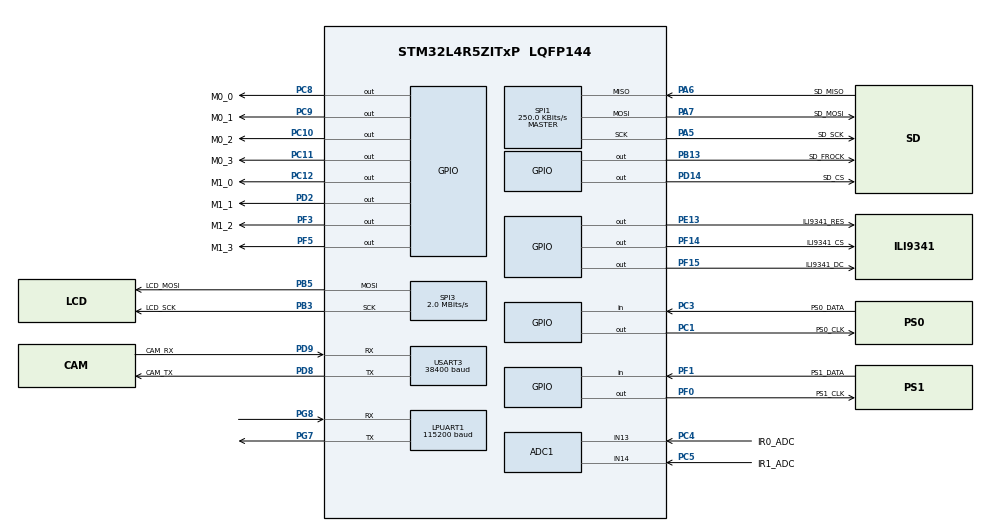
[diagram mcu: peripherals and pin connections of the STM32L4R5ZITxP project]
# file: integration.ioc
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ADC1.Channel-0\#ChannelRegularConversion=ADC_CHANNEL_13
ADC1.NbrOfConversionFlag=1
ADC1.OffsetNumber-0\#ChannelRegularConversion=ADC_OFFSET_NONE
ADC1.Rank-0\#ChannelRegularConversion=1
ADC1.SamplingTime-0\#ChannelRegularConversion=ADC_SAMPLETIME_2CYCLES_5
ADC1.master=1
LPUART1.BaudRate=115200
LPUART1.WordLength=UART_WORDLENGTH_8B
Mcu.Family=STM32L4
Mcu.Name=STM32L4R5ZITxP
Mcu.Package=LQFP144
NVIC.PriorityGroup=NVIC_PRIORITYGROUP_4
NVIC.TIM1_BRK_TIM15_IRQn=true\:0\:0\:false\:false\:true\:true\:true\:true
NVIC.TIM1_UP_TIM16_IRQn=true\:0\:0\:false\:false\:true\:true\:true\:true
NVIC.TIM4_IRQn=true\:0\:0\:false\:false\:true\:true\:true\:true
NVIC.TIM5_IRQn=true\:0\:0\:false\:false\:true\:true\:true\:true
PA10.Signal=USB_OTG_FS_ID
PA13\ (JTMS/SWDIO).Signal=SYS_JTMS-SWDIO
PA14\ (JTCK/SWCLK).Signal=SYS_JTCK-SWCLK
PA3.Signal=ADCx_IN8
PA5.GPIO_Label=SD_SCK
PA5.Mode=Full_Duplex_Master
PA5.Signal=SPI1_SCK
PA6.GPIO_Label=SD_MISO
PA6.Mode=Full_Duplex_Master
PA6.Signal=SPI1_MISO
PA7.GPIO_Label=SD_MOSI
PA7.Mode=Full_Duplex_Master
PA7.Signal=SPI1_MOSI
PA8.Signal=USB_OTG_FS_SOF
PA9.Signal=USB_OTG_FS_VBUS
PB10.Signal=S_TIM2_CH3
PB12.Signal=SAI2_FS_A
PB13.GPIO_Label=SD_FROCK
PB13.GPIO_PuPd=GPIO_PULLUP
PB13.PinState=GPIO_PIN_RESET
PB13.Signal=GPIO_Output
PB14.Signal=S_TIM15_CH1
PB15.Signal=SAI2_SD_A
PB3\ (JTDO/TRACESWO).GPIO_Label=LCD_SCK
PB3\ (JTDO/TRACESWO).Mode=TX_Only_Simplex_Unidirect_Master
PB3\ (JTDO/TRACESWO).Signal=SPI3_SCK
PB5.GPIO_Label=LCD_MOSI
PB5.Mode=TX_Only_Simplex_Unidirect_Master
PB5.Signal=SPI3_MOSI
PC1.GPIO_Label=PS0_CLK
PC1.Signal=GPIO_Output
PC10.GPIO_Label=M0_2
PC10.Signal=GPIO_Output
PC11.GPIO_Label=M0_3
PC11.Signal=GPIO_Output
PC12.GPIO_Label=M1_0
PC12.Signal=GPIO_Output
PC3.GPIO_Label=PS0_DATA
PC3.Signal=GPIO_Input
PC4.GPIO_Label=IR0_ADC
PC4.Signal=ADCx_IN13
PC5.GPIO_Label=IR1_ADC
PC5.Signal=ADCx_IN14
PC6.Signal=SAI2_MCLK_A
PC7.Signal=S_TIM3_CH2
PC8.GPIO_Label=M0_0
PC8.Signal=GPIO_Output
PC9.GPIO_Label=M0_1
PC9.Signal=GPIO_Output
PD14.GPIO_Label=SD_CS
PD14.Signal=GPIO_Output
PD15.Signal=S_TIM4_CH4
PD2.GPIO_Label=M1_1
PD2.Signal=GPIO_Output
PD8.GPIO_Label=CAM_TX
PD8.Mode=Asynchronous
PD8.Signal=USART3_TX
PD9.GPIO_Label=CAM_RX
PD9.Mode=Asynchronous
PD9.Signal=USART3_RX
PE10.Signal=TIM1_CH2N
PE11.Signal=S_TIM1_CH2
PE12.Signal=TIM1_CH3N
PE13.GPIO_Label=ILI9341_RES
PE13.Signal=GPIO_Output
PE14.Signal=TIM1_BKIN2
PE15.Signal=TIM1_BKIN
PE7.Signal=S_TIM1_ETR
PE8.Signal=TIM1_CH1N
PE9.Signal=S_TIM1_CH1
PF0.GPIO_Label=PS1_CLK
PF0.Signal=GPIO_Output
PF1.GPIO_Label=PS1_DATA
PF1.Signal=GPIO_Input
PF14.GPIO_Label=ILI9341_CS
PF14.Signal=GPIO_Output
PF15.GPIO_Label=ILI9341_DC
PF15.Signal=GPIO_Output
PF3.GPIO_Label=M1_2
PF3.Signal=GPIO_Output
PF5.GPIO_Label=M1_3
PF5.Signal=GPIO_Output
PG7.Mode=Asynchronous
PG7.Signal=LPUART1_TX
PG8.Mode=Asynchronous
PG8.Signal=LPUART1_RX
ProjectManager.HeapSize=0x200
ProjectManager.StackSize=0x400
ProjectManager.TargetToolchain=STM32CubeIDE
RCC.ADCFreq_Value=32000000
RCC.HSE_VALUE=8000000
RCC.HSI48_VALUE=48000000
RCC.HSI_VALUE=16000000
RCC.LSE_VALUE=32768
RCC.MSI_VALUE=4000000
RCC.PLLSAI1N=16
RCC.USBFreq_Value=32000000
RCC.VCOOutputFreq_Value=32000000
SH.ADCx_IN13.0=ADC1_IN13,IN13-Single-Ended
SH.ADCx_IN14.0=ADC1_IN14,IN14-Single-Ended
SH.ADCx_IN8.0=ADC1_IN8
SH.S_TIM15_CH1.0=TIM15_CH1
SH.S_TIM1_CH1.0=TIM1_CH1
SH.S_TIM1_CH2.0=TIM1_CH2
SH.S_TIM1_ETR.0=TIM1_ETR
SH.S_TIM2_CH3.0=TIM2_CH3
SH.S_TIM3_CH2.0=TIM3_CH2
SH.S_TIM4_CH4.0=TIM4_CH4
SPI1.BaudRatePrescaler=SPI_BAUDRATEPRESCALER_16
SPI1.CalculateBaudRate=250.0 KBits/s
SPI1.DataSize=SPI_DATASIZE_8BIT
SPI1.Direction=SPI_DIRECTION_2LINES
SPI1.Mode=SPI_MODE_MASTER
SPI1.VirtualType=VM_MASTER
SPI3.BaudRatePrescaler=SPI_BAUDRATEPRESCALER_2
SPI3.CalculateBaudRate=2.0 MBits/s
SPI3.DataSize=SPI_DATASIZE_8BIT
SPI3.Direction=SPI_DIRECTION_2LINES
SPI3.Mode=SPI_MODE_MASTER
SPI3.VirtualType=VM_MASTER
TIM15.Prescaler=255
TIM16.Prescaler=128
TIM2.Period=65535
TIM2.Prescaler=71
TIM4.Period=62
TIM4.Prescaler=127
TIM5.Period=65535
TIM5.Prescaler=15
USART3.BaudRate=38400
USART3.MSBFirstParam=ADVFEATURE_MSBFIRST_DISABLE
USART3.VirtualMode-Asynchronous=VM_ASYNC
VP_FATFS_VS_Generic.Mode=User_defined
VP_TIM15_VS_ClockSourceINT.Mode=Internal
VP_TIM16_VS_ClockSourceINT.Mode=Enable_Timer
VP_TIM2_VS_ClockSourceINT.Mode=Internal
VP_TIM4_VS_ClockSourceINT.Mode=Internal
VP_TIM5_VS_ClockSourceINT.Mode=Internal
board=NUCLEO-L4R5ZI-P

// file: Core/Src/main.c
/* USER CODE BEGIN Header */
/**
  ******************************************************************************
  * @file           : main.c
  * @brief          : Main program body
  ******************************************************************************
  * @attention
  *
  * Copyright (c) 2024 STMicroelectronics.
  * All rights reserved.
  *
  * This software is licensed under terms that can be found in the LICENSE file
  * in the root directory of this software component.
  * If no LICENSE file comes with this software, it is provided AS-IS.
  *
  ******************************************************************************
  */
/* USER CODE END Header */
#include "main.h"
#include "fatfs.h"

/* USER CODE BEGIN Includes */
#include "integration.h"
#include "camera_handler.h"
#include "motor.h"
#include "load_cell.h"
#include "lcd.h"
#include <stdio.h>
#include <stdbool.h>

/* USER CODE END Includes */

/* USER CODE BEGIN PTD */
#define VC0706_CMD_PREFIX 0x56
#define VC0706_SERIAL_NUM 0x00
#define VC0706_CMD_SET_BAUD 0x31
#define VC0706_CMD_TAKE_PHOTO 0x36
#define VC0706_CMD_READ_DATA  0x32
#define VC0706_CMD_RESET      0x26
#define VC0706_CMD_STOP_CAPTURE 0x36
#define VC0706_CMD_READ_DATA_LEN 0x34

#define CAMERA_BUFFER_SIZE 100000 // Adjust this based on available memory
#define CAMERA_READ_SIZE 32		  // Amount of camera data that can be read in one cycle

//uint8_t CAMERA_BUFFER[CAMERA_BUFFER_SIZE];
//uint8_t CAMERA_BUFFER_STATUS = 0; // set to 1 after buffer filled
//uint32_t CAMERA_BUFFER_OFFSET = 0;

/* USER CODE END PTD */

ADC_HandleTypeDef hadc1;

UART_HandleTypeDef hlpuart1;
UART_HandleTypeDef huart3;

SPI_HandleTypeDef hspi1;
SPI_HandleTypeDef hspi3;

TIM_HandleTypeDef htim2;
TIM_HandleTypeDef htim4;
TIM_HandleTypeDef htim5;
TIM_HandleTypeDef htim15;
TIM_HandleTypeDef htim16;

void SystemClock_Config(void);
static void MX_GPIO_Init(void);
static void MX_USART3_UART_Init(void);
static void MX_SPI1_Init(void);
static void MX_SPI3_Init(void);
static void MX_ADC1_Init(void);
static void MX_TIM2_Init(void);
static void MX_TIM4_Init(void);
static void MX_TIM5_Init(void);
static void MX_TIM15_Init(void);
static void MX_TIM16_Init(void);
static void MX_LPUART1_UART_Init(void);

int main(void)
{

  /* MCU Configuration--------------------------------------------------------*/

  /* Reset of all peripherals, Initializes the Flash interface and the Systick. */
  HAL_Init();

  /* Configure the system clock */
  SystemClock_Config();

  /* Initialize all configured peripherals */
  MX_GPIO_Init();
  MX_USART3_UART_Init();
  MX_SPI1_Init();
  MX_FATFS_Init();
  MX_SPI3_Init();
  MX_ADC1_Init();
  MX_TIM2_Init();
  MX_TIM4_Init();
  MX_TIM5_Init();
  MX_TIM15_Init();
  MX_TIM16_Init();
  MX_LPUART1_UART_Init();
  /* USER CODE BEGIN 2 */

  FATFS FatFs; 	//Fatfs handle
  FIL fil; 		//File handle
  FRESULT fres; //Result after operations

  printf("\n\r#########################################################\n\r");
  printf("                INITIALIZING SQURREL FEEDER . . .        \n\r");
  printf("#########################################################\n\r");
  printf("\n\r\n\r");

  HAL_GPIO_WritePin(SD_FROCK_GPIO_Port, SD_FROCK_Pin, 0);

  // 10 second startup delay to perform the SD card magic
  HAL_Delay(3000);

  HAL_GPIO_WritePin(SD_FROCK_GPIO_Port, SD_FROCK_Pin, 1);
  HAL_Delay(1000);

  fres = f_mount(&FatFs, "", 1); //1=mount now
  while (fres != FR_OK) {
	  printf("FRUCK\n\r");
  }

  printf("FROCK\n\r");

  HAL_NVIC_SetPriority(TIM1_BRK_TIM15_IRQn, 3, 0);
  HAL_NVIC_SetPriority(TIM1_UP_TIM16_IRQn, 3, 0);
  HAL_NVIC_SetPriority(TIM4_IRQn, 3, 0);
  HAL_NVIC_SetPriority(TIM5_IRQn, 3, 0);

  init_peripherals();

//  get_feeder()->needs_to_take_picture = true;
  /* USER CODE END 2 */

  /* Infinite loop */
  while (1)
  {

    /* USER CODE BEGIN 3 */
	if (get_feeder()->needs_to_take_picture) {
		if (camera_take_photo()) {
			get_feeder()->needs_to_take_picture = false;
		}
	}

//	if (!camera_get_ready() && camera_is_ready_to_request()) {
//		camera_request_chunk();
//	}

	if (!camera_get_ready() && get_feeder()->needs_to_process_picture) {
		camera_process();
	}

	if (ps_needs_reading()) {
		ps_take_reading();
	}

	if (lcd_needs_update()) {
		lcd_update();
	}
  }

  f_mount(NULL, "", 0);

  /* USER CODE END 3 */
}

void SystemClock_Config(void)
{
  RCC_OscInitTypeDef RCC_OscInitStruct = {0};
  RCC_ClkInitTypeDef RCC_ClkInitStruct = {0};

  /** Configure the main internal regulator output voltage
  */
  if (HAL_PWREx_ControlVoltageScaling(PWR_REGULATOR_VOLTAGE_SCALE1) != HAL_OK)
  {
    Error_Handler();
  }

  /** Initializes the RCC Oscillators according to the specified parameters
  * in the RCC_OscInitTypeDef structure.
  */
  RCC_OscInitStruct.OscillatorType = RCC_OSCILLATORTYPE_MSI;
  RCC_OscInitStruct.MSIState = RCC_MSI_ON;
  RCC_OscInitStruct.MSICalibrationValue = 0;
  RCC_OscInitStruct.MSIClockRange = RCC_MSIRANGE_6;
  RCC_OscInitStruct.PLL.PLLState = RCC_PLL_NONE;
  if (HAL_RCC_OscConfig(&RCC_OscInitStruct) != HAL_OK)
  {
    Error_Handler();
  }

  /** Initializes the CPU, AHB and APB buses clocks
  */
  RCC_ClkInitStruct.ClockType = RCC_CLOCKTYPE_HCLK|RCC_CLOCKTYPE_SYSCLK
                              |RCC_CLOCKTYPE_PCLK1|RCC_CLOCKTYPE_PCLK2;
  RCC_ClkInitStruct.SYSCLKSource = RCC_SYSCLKSOURCE_MSI;
  RCC_ClkInitStruct.AHBCLKDivider = RCC_SYSCLK_DIV1;
  RCC_ClkInitStruct.APB1CLKDivider = RCC_HCLK_DIV1;
  RCC_ClkInitStruct.APB2CLKDivider = RCC_HCLK_DIV1;

  if (HAL_RCC_ClockConfig(&RCC_ClkInitStruct, FLASH_LATENCY_0) != HAL_OK)
  {
    Error_Handler();
  }
}

static void MX_ADC1_Init(void)
{

  ADC_ChannelConfTypeDef sConfig = {0};

  /** Common config
  */
  hadc1.Instance = ADC1;
  hadc1.Init.ClockPrescaler = ADC_CLOCK_ASYNC_DIV1;
  hadc1.Init.Resolution = ADC_RESOLUTION_12B;
  hadc1.Init.DataAlign = ADC_DATAALIGN_RIGHT;
  hadc1.Init.ScanConvMode = ADC_SCAN_DISABLE;
  hadc1.Init.EOCSelection = ADC_EOC_SINGLE_CONV;
  hadc1.Init.LowPowerAutoWait = DISABLE;
  hadc1.Init.ContinuousConvMode = DISABLE;
  hadc1.Init.NbrOfConversion = 1;
  hadc1.Init.DiscontinuousConvMode = DISABLE;
  hadc1.Init.ExternalTrigConv = ADC_SOFTWARE_START;
  hadc1.Init.ExternalTrigConvEdge = ADC_EXTERNALTRIGCONVEDGE_NONE;
  hadc1.Init.DMAContinuousRequests = DISABLE;
  hadc1.Init.Overrun = ADC_OVR_DATA_PRESERVED;
  hadc1.Init.OversamplingMode = DISABLE;
  if (HAL_ADC_Init(&hadc1) != HAL_OK)
  {
    Error_Handler();
  }

  /** Configure Regular Channel
  */
  sConfig.Channel = ADC_CHANNEL_13;
  sConfig.Rank = ADC_REGULAR_RANK_1;
  sConfig.SamplingTime = ADC_SAMPLETIME_2CYCLES_5;
  sConfig.SingleDiff = ADC_SINGLE_ENDED;
  sConfig.OffsetNumber = ADC_OFFSET_NONE;
  sConfig.Offset = 0;
  if (HAL_ADC_ConfigChannel(&hadc1, &sConfig) != HAL_OK)
  {
    Error_Handler();
  }

}

static void MX_LPUART1_UART_Init(void)
{

  hlpuart1.Instance = LPUART1;
  hlpuart1.Init.BaudRate = 115200;
  hlpuart1.Init.WordLength = UART_WORDLENGTH_8B;
  hlpuart1.Init.StopBits = UART_STOPBITS_1;
  hlpuart1.Init.Parity = UART_PARITY_NONE;
  hlpuart1.Init.Mode = UART_MODE_TX_RX;
  hlpuart1.Init.HwFlowCtl = UART_HWCONTROL_NONE;
  hlpuart1.Init.OneBitSampling = UART_ONE_BIT_SAMPLE_DISABLE;
  hlpuart1.Init.ClockPrescaler = UART_PRESCALER_DIV1;
  hlpuart1.AdvancedInit.AdvFeatureInit = UART_ADVFEATURE_NO_INIT;
  hlpuart1.FifoMode = UART_FIFOMODE_DISABLE;
  if (HAL_UART_Init(&hlpuart1) != HAL_OK)
  {
    Error_Handler();
  }
  if (HAL_UARTEx_SetTxFifoThreshold(&hlpuart1, UART_TXFIFO_THRESHOLD_1_8) != HAL_OK)
  {
    Error_Handler();
  }
  if (HAL_UARTEx_SetRxFifoThreshold(&hlpuart1, UART_RXFIFO_THRESHOLD_1_8) != HAL_OK)
  {
    Error_Handler();
  }
  if (HAL_UARTEx_DisableFifoMode(&hlpuart1) != HAL_OK)
  {
    Error_Handler();
  }

}

static void MX_USART3_UART_Init(void)
{

  huart3.Instance = USART3;
  huart3.Init.BaudRate = 38400;
  huart3.Init.WordLength = UART_WORDLENGTH_8B;
  huart3.Init.StopBits = UART_STOPBITS_1;
  huart3.Init.Parity = UART_PARITY_NONE;
  huart3.Init.Mode = UART_MODE_TX_RX;
  huart3.Init.HwFlowCtl = UART_HWCONTROL_NONE;
  huart3.Init.OverSampling = UART_OVERSAMPLING_16;
  huart3.Init.OneBitSampling = UART_ONE_BIT_SAMPLE_DISABLE;
  huart3.Init.ClockPrescaler = UART_PRESCALER_DIV1;
  huart3.AdvancedInit.AdvFeatureInit = UART_ADVFEATURE_NO_INIT;
  if (HAL_UART_Init(&huart3) != HAL_OK)
  {
    Error_Handler();
  }
  if (HAL_UARTEx_SetTxFifoThreshold(&huart3, UART_TXFIFO_THRESHOLD_1_8) != HAL_OK)
  {
    Error_Handler();
  }
  if (HAL_UARTEx_SetRxFifoThreshold(&huart3, UART_RXFIFO_THRESHOLD_1_8) != HAL_OK)
  {
    Error_Handler();
  }
  if (HAL_UARTEx_DisableFifoMode(&huart3) != HAL_OK)
  {
    Error_Handler();
  }

}

static void MX_SPI1_Init(void)
{

  /* SPI1 parameter configuration*/
  hspi1.Instance = SPI1;
  hspi1.Init.Mode = SPI_MODE_MASTER;
  hspi1.Init.Direction = SPI_DIRECTION_2LINES;
  hspi1.Init.DataSize = SPI_DATASIZE_8BIT;
  hspi1.Init.CLKPolarity = SPI_POLARITY_LOW;
  hspi1.Init.CLKPhase = SPI_PHASE_1EDGE;
  hspi1.Init.NSS = SPI_NSS_SOFT;
  hspi1.Init.BaudRatePrescaler = SPI_BAUDRATEPRESCALER_16;
  hspi1.Init.FirstBit = SPI_FIRSTBIT_MSB;
  hspi1.Init.TIMode = SPI_TIMODE_DISABLE;
  hspi1.Init.CRCCalculation = SPI_CRCCALCULATION_DISABLE;
  hspi1.Init.CRCPolynomial = 7;
  hspi1.Init.CRCLength = SPI_CRC_LENGTH_DATASIZE;
  hspi1.Init.NSSPMode = SPI_NSS_PULSE_ENABLE;
  if (HAL_SPI_Init(&hspi1) != HAL_OK)
  {
    Error_Handler();
  }

}

static void MX_SPI3_Init(void)
{

  /* SPI3 parameter configuration*/
  hspi3.Instance = SPI3;
  hspi3.Init.Mode = SPI_MODE_MASTER;
  hspi3.Init.Direction = SPI_DIRECTION_2LINES;
  hspi3.Init.DataSize = SPI_DATASIZE_8BIT;
  hspi3.Init.CLKPolarity = SPI_POLARITY_LOW;
  hspi3.Init.CLKPhase = SPI_PHASE_1EDGE;
  hspi3.Init.NSS = SPI_NSS_SOFT;
  hspi3.Init.BaudRatePrescaler = SPI_BAUDRATEPRESCALER_2;
  hspi3.Init.FirstBit = SPI_FIRSTBIT_MSB;
  hspi3.Init.TIMode = SPI_TIMODE_DISABLE;
  hspi3.Init.CRCCalculation = SPI_CRCCALCULATION_DISABLE;
  hspi3.Init.CRCPolynomial = 7;
  hspi3.Init.CRCLength = SPI_CRC_LENGTH_DATASIZE;
  hspi3.Init.NSSPMode = SPI_NSS_PULSE_ENABLE;
  if (HAL_SPI_Init(&hspi3) != HAL_OK)
  {
    Error_Handler();
  }

}

static void MX_TIM2_Init(void)
{

  TIM_ClockConfigTypeDef sClockSourceConfig = {0};
  TIM_MasterConfigTypeDef sMasterConfig = {0};

  htim2.Instance = TIM2;
  htim2.Init.Prescaler = 71;
  htim2.Init.CounterMode = TIM_COUNTERMODE_UP;
  htim2.Init.Period = 65535;
  htim2.Init.ClockDivision = TIM_CLOCKDIVISION_DIV1;
  htim2.Init.AutoReloadPreload = TIM_AUTORELOAD_PRELOAD_DISABLE;
  if (HAL_TIM_Base_Init(&htim2) != HAL_OK)
  {
    Error_Handler();
  }
  sClockSourceConfig.ClockSource = TIM_CLOCKSOURCE_INTERNAL;
  if (HAL_TIM_ConfigClockSource(&htim2, &sClockSourceConfig) != HAL_OK)
  {
    Error_Handler();
  }
  sMasterConfig.MasterOutputTrigger = TIM_TRGO_RESET;
  sMasterConfig.MasterSlaveMode = TIM_MASTERSLAVEMODE_DISABLE;
  if (HAL_TIMEx_MasterConfigSynchronization(&htim2, &sMasterConfig) != HAL_OK)
  {
    Error_Handler();
  }

}

static void MX_TIM4_Init(void)
{

  TIM_ClockConfigTypeDef sClockSourceConfig = {0};
  TIM_MasterConfigTypeDef sMasterConfig = {0};

  htim4.Instance = TIM4;
  htim4.Init.Prescaler = 127;
  htim4.Init.CounterMode = TIM_COUNTERMODE_UP;
  htim4.Init.Period = 62;
  htim4.Init.ClockDivision = TIM_CLOCKDIVISION_DIV1;
  htim4.Init.AutoReloadPreload = TIM_AUTORELOAD_PRELOAD_DISABLE;
  if (HAL_TIM_Base_Init(&htim4) != HAL_OK)
  {
    Error_Handler();
  }
  sClockSourceConfig.ClockSource = TIM_CLOCKSOURCE_INTERNAL;
  if (HAL_TIM_ConfigClockSource(&htim4, &sClockSourceConfig) != HAL_OK)
  {
    Error_Handler();
  }
  sMasterConfig.MasterOutputTrigger = TIM_TRGO_RESET;
  sMasterConfig.MasterSlaveMode = TIM_MASTERSLAVEMODE_DISABLE;
  if (HAL_TIMEx_MasterConfigSynchronization(&htim4, &sMasterConfig) != HAL_OK)
  {
    Error_Handler();
  }

}

static void MX_TIM5_Init(void)
{

  TIM_ClockConfigTypeDef sClockSourceConfig = {0};
  TIM_MasterConfigTypeDef sMasterConfig = {0};

  htim5.Instance = TIM5;
  htim5.Init.Prescaler = 15;
  htim5.Init.CounterMode = TIM_COUNTERMODE_UP;
  htim5.Init.Period = 65535;
  htim5.Init.ClockDivision = TIM_CLOCKDIVISION_DIV1;
  htim5.Init.AutoReloadPreload = TIM_AUTORELOAD_PRELOAD_DISABLE;
  if (HAL_TIM_Base_Init(&htim5) != HAL_OK)
  {
    Error_Handler();
  }
  sClockSourceConfig.ClockSource = TIM_CLOCKSOURCE_INTERNAL;
  if (HAL_TIM_ConfigClockSource(&htim5, &sClockSourceConfig) != HAL_OK)
  {
    Error_Handler();
  }
  sMasterConfig.MasterOutputTrigger = TIM_TRGO_RESET;
  sMasterConfig.MasterSlaveMode = TIM_MASTERSLAVEMODE_DISABLE;
  if (HAL_TIMEx_MasterConfigSynchronization(&htim5, &sMasterConfig) != HAL_OK)
  {
    Error_Handler();
  }

}

static void MX_TIM15_Init(void)
{

  TIM_ClockConfigTypeDef sClockSourceConfig = {0};
  TIM_MasterConfigTypeDef sMasterConfig = {0};

  htim15.Instance = TIM15;
  htim15.Init.Prescaler = 255;
  htim15.Init.CounterMode = TIM_COUNTERMODE_UP;
  htim15.Init.Period = 65535;
  htim15.Init.ClockDivision = TIM_CLOCKDIVISION_DIV1;
  htim15.Init.RepetitionCounter = 0;
  htim15.Init.AutoReloadPreload = TIM_AUTORELOAD_PRELOAD_DISABLE;
  if (HAL_TIM_Base_Init(&htim15) != HAL_OK)
  {
    Error_Handler();
  }
  sClockSourceConfig.ClockSource = TIM_CLOCKSOURCE_INTERNAL;
  if (HAL_TIM_ConfigClockSource(&htim15, &sClockSourceConfig) != HAL_OK)
  {
    Error_Handler();
  }
  sMasterConfig.MasterOutputTrigger = TIM_TRGO_RESET;
  sMasterConfig.MasterSlaveMode = TIM_MASTERSLAVEMODE_DISABLE;
  if (HAL_TIMEx_MasterConfigSynchronization(&htim15, &sMasterConfig) != HAL_OK)
  {
    Error_Handler();
  }

}

static void MX_TIM16_Init(void)
{

  htim16.Instance = TIM16;
  htim16.Init.Prescaler = 128;
  htim16.Init.CounterMode = TIM_COUNTERMODE_UP;
  htim16.Init.Period = 65535;
  htim16.Init.ClockDivision = TIM_CLOCKDIVISION_DIV1;
  htim16.Init.RepetitionCounter = 0;
  htim16.Init.AutoReloadPreload = TIM_AUTORELOAD_PRELOAD_DISABLE;
  if (HAL_TIM_Base_Init(&htim16) != HAL_OK)
  {
    Error_Handler();
  }

}

static void MX_GPIO_Init(void)
{
  GPIO_InitTypeDef GPIO_InitStruct = {0};

  /* GPIO Ports Clock Enable */
  __HAL_RCC_GPIOF_CLK_ENABLE();
  __HAL_RCC_GPIOC_CLK_ENABLE();
  __HAL_RCC_GPIOA_CLK_ENABLE();
  __HAL_RCC_GPIOE_CLK_ENABLE();
  __HAL_RCC_GPIOB_CLK_ENABLE();
  __HAL_RCC_GPIOD_CLK_ENABLE();
  __HAL_RCC_GPIOG_CLK_ENABLE();
  HAL_PWREx_EnableVddIO2();

  /*Configure GPIO pin Output Level */
  HAL_GPIO_WritePin(GPIOF, PS1_CLK_Pin|M1_2_Pin|M1_3_Pin|ILI9341_CS_Pin
                          |ILI9341_DC_Pin, GPIO_PIN_RESET);

  /*Configure GPIO pin Output Level */
  HAL_GPIO_WritePin(GPIOC, PS0_CLK_Pin|M0_0_Pin|M0_1_Pin|M0_2_Pin
                          |M0_3_Pin|M1_0_Pin, GPIO_PIN_RESET);

  /*Configure GPIO pin Output Level */
  HAL_GPIO_WritePin(ILI9341_RES_GPIO_Port, ILI9341_RES_Pin, GPIO_PIN_RESET);

  /*Configure GPIO pin Output Level */
  HAL_GPIO_WritePin(SD_FROCK_GPIO_Port, SD_FROCK_Pin, GPIO_PIN_RESET);

  /*Configure GPIO pin Output Level */
  HAL_GPIO_WritePin(GPIOD, SD_CS_Pin|M1_1_Pin, GPIO_PIN_RESET);

  /*Configure GPIO pins : PS1_CLK_Pin M1_2_Pin M1_3_Pin ILI9341_CS_Pin
                           ILI9341_DC_Pin */
  GPIO_InitStruct.Pin = PS1_CLK_Pin|M1_2_Pin|M1_3_Pin|ILI9341_CS_Pin
                          |ILI9341_DC_Pin;
  GPIO_InitStruct.Mode = GPIO_MODE_OUTPUT_PP;
  GPIO_InitStruct.Pull = GPIO_NOPULL;
  GPIO_InitStruct.Speed = GPIO_SPEED_FREQ_LOW;
  HAL_GPIO_Init(GPIOF, &GPIO_InitStruct);

  /*Configure GPIO pin : PS1_DATA_Pin */
  GPIO_InitStruct.Pin = PS1_DATA_Pin;
  GPIO_InitStruct.Mode = GPIO_MODE_INPUT;
  GPIO_InitStruct.Pull = GPIO_NOPULL;
  HAL_GPIO_Init(PS1_DATA_GPIO_Port, &GPIO_InitStruct);

  /*Configure GPIO pins : PS0_CLK_Pin M0_0_Pin M0_1_Pin M0_2_Pin
                           M0_3_Pin M1_0_Pin */
  GPIO_InitStruct.Pin = PS0_CLK_Pin|M0_0_Pin|M0_1_Pin|M0_2_Pin
                          |M0_3_Pin|M1_0_Pin;
  GPIO_InitStruct.Mode = GPIO_MODE_OUTPUT_PP;
  GPIO_InitStruct.Pull = GPIO_NOPULL;
  GPIO_InitStruct.Speed = GPIO_SPEED_FREQ_LOW;
  HAL_GPIO_Init(GPIOC, &GPIO_InitStruct);

  /*Configure GPIO pin : PS0_DATA_Pin */
  GPIO_InitStruct.Pin = PS0_DATA_Pin;
  GPIO_InitStruct.Mode = GPIO_MODE_INPUT;
  GPIO_InitStruct.Pull = GPIO_NOPULL;
  HAL_GPIO_Init(PS0_DATA_GPIO_Port, &GPIO_InitStruct);

  /*Configure GPIO pins : PE7 PE8 PE9 PE10
                           PE11 PE12 */
  GPIO_InitStruct.Pin = GPIO_PIN_7|GPIO_PIN_8|GPIO_PIN_9|GPIO_PIN_10
                          |GPIO_PIN_11|GPIO_PIN_12;
  GPIO_InitStruct.Mode = GPIO_MODE_AF_PP;
  GPIO_InitStruct.Pull = GPIO_NOPULL;
  GPIO_InitStruct.Speed = GPIO_SPEED_FREQ_LOW;
  GPIO_InitStruct.Alternate = GPIO_AF1_TIM1;
  HAL_GPIO_Init(GPIOE, &GPIO_InitStruct);

  /*Configure GPIO pin : ILI9341_RES_Pin */
  GPIO_InitStruct.Pin = ILI9341_RES_Pin;
  GPIO_InitStruct.Mode = GPIO_MODE_OUTPUT_PP;
  GPIO_InitStruct.Pull = GPIO_NOPULL;
  GPIO_InitStruct.Speed = GPIO_SPEED_FREQ_LOW;
  HAL_GPIO_Init(ILI9341_RES_GPIO_Port, &GPIO_InitStruct);

  /*Configure GPIO pins : PE14 PE15 */
  GPIO_InitStruct.Pin = GPIO_PIN_14|GPIO_PIN_15;
  GPIO_InitStruct.Mode = GPIO_MODE_AF_PP;
  GPIO_InitStruct.Pull = GPIO_NOPULL;
  GPIO_InitStruct.Speed = GPIO_SPEED_FREQ_LOW;
  GPIO_InitStruct.Alternate = GPIO_AF3_TIM1_COMP1;
  HAL_GPIO_Init(GPIOE, &GPIO_InitStruct);

  /*Configure GPIO pins : PB12 PB15 */
  GPIO_InitStruct.Pin = GPIO_PIN_12|GPIO_PIN_15;
  GPIO_InitStruct.Mode = GPIO_MODE_AF_PP;
  GPIO_InitStruct.Pull = GPIO_NOPULL;
  GPIO_InitStruct.Speed = GPIO_SPEED_FREQ_LOW;
  GPIO_InitStruct.Alternate = GPIO_AF13_SAI2;
  HAL_GPIO_Init(GPIOB, &GPIO_InitStruct);

  /*Configure GPIO pin : SD_FROCK_Pin */
  GPIO_InitStruct.Pin = SD_FROCK_Pin;
  GPIO_InitStruct.Mode = GPIO_MODE_OUTPUT_PP;
  GPIO_InitStruct.Pull = GPIO_PULLUP;
  GPIO_InitStruct.Speed = GPIO_SPEED_FREQ_LOW;
  HAL_GPIO_Init(SD_FROCK_GPIO_Port, &GPIO_InitStruct);

  /*Configure GPIO pins : SD_CS_Pin M1_1_Pin */
  GPIO_InitStruct.Pin = SD_CS_Pin|M1_1_Pin;
  GPIO_InitStruct.Mode = GPIO_MODE_OUTPUT_PP;
  GPIO_InitStruct.Pull = GPIO_NOPULL;
  GPIO_InitStruct.Speed = GPIO_SPEED_FREQ_LOW;
  HAL_GPIO_Init(GPIOD, &GPIO_InitStruct);

  /*Configure GPIO pin : PC6 */
  GPIO_InitStruct.Pin = GPIO_PIN_6;
  GPIO_InitStruct.Mode = GPIO_MODE_AF_PP;
  GPIO_InitStruct.Pull = GPIO_NOPULL;
  GPIO_InitStruct.Speed = GPIO_SPEED_FREQ_LOW;
  GPIO_InitStruct.Alternate = GPIO_AF13_SAI2;
  HAL_GPIO_Init(GPIOC, &GPIO_InitStruct);

  /*Configure GPIO pin : PC7 */
  GPIO_InitStruct.Pin = GPIO_PIN_7;
  GPIO_InitStruct.Mode = GPIO_MODE_AF_PP;
  GPIO_InitStruct.Pull = GPIO_NOPULL;
  GPIO_InitStruct.Speed = GPIO_SPEED_FREQ_LOW;
  GPIO_InitStruct.Alternate = GPIO_AF2_TIM3;
  HAL_GPIO_Init(GPIOC, &GPIO_InitStruct);

  /*Configure GPIO pins : PA8 PA10 */
  GPIO_InitStruct.Pin = GPIO_PIN_8|GPIO_PIN_10;
  GPIO_InitStruct.Mode = GPIO_MODE_AF_PP;
  GPIO_InitStruct.Pull = GPIO_NOPULL;
  GPIO_InitStruct.Speed = GPIO_SPEED_FREQ_VERY_HIGH;
  GPIO_InitStruct.Alternate = GPIO_AF10_OTG_FS;
  HAL_GPIO_Init(GPIOA, &GPIO_InitStruct);

  /*Configure GPIO pin : PA9 */
  GPIO_InitStruct.Pin = GPIO_PIN_9;
  GPIO_InitStruct.Mode = GPIO_MODE_INPUT;
  GPIO_InitStruct.Pull = GPIO_NOPULL;
  HAL_GPIO_Init(GPIOA, &GPIO_InitStruct);

}

/* USER CODE BEGIN 4 */
#ifdef __GNUC__
#define PUTCHAR_PROTOTYPE int __io_putchar(int ch)
#else
  #define PUTCHAR_PROTOTYPE int fputc(int ch, FILE *f)
#endif /* __GNUC__ */
PUTCHAR_PROTOTYPE
{
  HAL_UART_Transmit(&hlpuart1, (uint8_t *)&ch, 1, 0xFFFF);
  return ch;
}
/* USER CODE END 4 */

void Error_Handler(void)
{
  __disable_irq();
  while (1)
  {
  }
}
